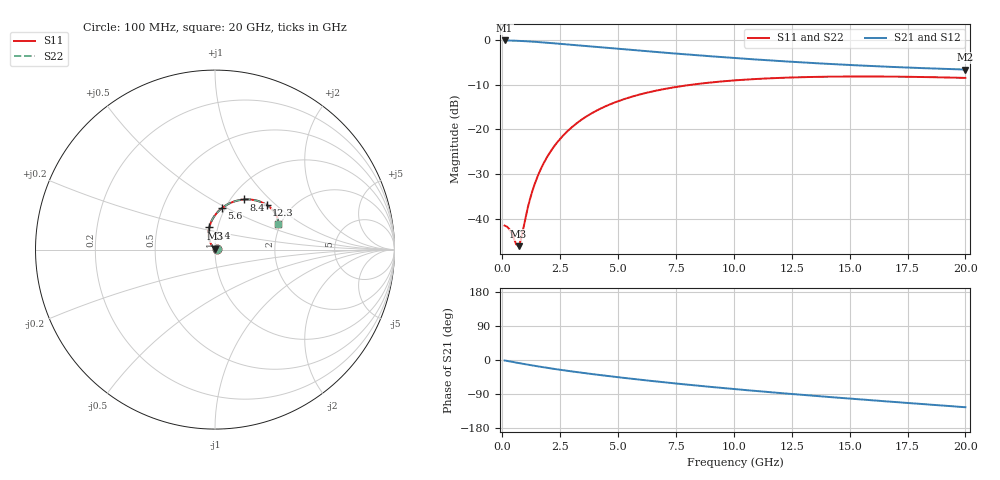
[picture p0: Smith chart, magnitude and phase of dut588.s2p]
! Touchstone file exported from HFSS 2024.1.0
!  File:  C:/UserFiles/LocalFiles/RDL_TSV_Batchsim/temp_RDL_TSV_588_1779758509.aedt
!  Generated:  09:39:31 AM May 26, 2026
!  Design:  RDL_TSV
!  Project:  temp_RDL_TSV_588_1779758509
!  Setup:  Setup1
!  Solution:  Sweep
! Variables:
!  dtsv = 7.75um
!  hbump = 3um
!  htsv = 81.23um
!  ldown = 120.77um
!  lrdl = 273.01um
!  p = 40
!  p1 = 51.61um
!  rhole = 10um
!  subl = 1454.35um
!  t = 450um
!  tdown = 4.69um
!  trdl = 4.46um
!  viad = 10um
!  wdown = 14.52um
!  wrdl = 16.26um
!  xbump = 18um
# GHz S MA R 50.000000
! Terminal data exported
! Port[1] = TM1_1_T1
! Port[2] = TM1_4_T1
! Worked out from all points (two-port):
!   200 points, 100 MHz to 20 GHz, reference 50 ohm
!   highest |S21| = -0.08 dB at 100 MHz (marker M1); lowest = -6.6 dB at 20 GHz (marker M2)
!   |S21| within 3 dB of the highest: start of sweep to 7.648 GHz
!   lowest |S11| = -46.1 dB at 700 MHz (marker M3), VSWR 1.01, Z = 50.2 + j0.452 ohm
!   |S11| at or under -10 dB: start of sweep to 8.146 GHz
!   |S22| runs from -46.1 to -8.1 dB; largest |S21 - S12| = 9.2e-15
!   S11 on the Smith chart (normalised r, x): 100 MHz: 1.02, +0.00; 3.4 GHz: 0.91, +0.23; 5.6 GHz: 0.96, +0.47; 8.4 GHz: 1.15, +0.71; 12.3 GHz: 1.50, +0.87; 20 GHz: 1.94, +0.64
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0.1  0.008411 4.0  0.9912 -1.2  0.9912 -1.2  0.008411 4.0
! Gamma 0 0 0 0
! Port Impedance 50 0 50 0
0.3  0.007704 11.7  0.9893 -3.5  0.9893 -3.5  0.007704 11.7
0.6  0.005195 42.1  0.9838 -6.8  0.9838 -6.8  0.005196 42.1
0.7  0.004948 65.5  0.9814 -8.0  0.9814 -8.0  0.004949 65.6
0.8  0.005779 89.8  0.9787 -9.1  0.9787 -9.1  0.005781 89.8
1  0.01025 116.4  0.9726 -11.2  0.9726 -11.2  0.01025 116.4
1.2  0.01678 124.7  0.9655 -13.3  0.9655 -13.3  0.01678 124.7
1.4  0.02453 126.7  0.9578 -15.4  0.9578 -15.4  0.02454 126.7
1.7  0.03778 125.6  0.9451 -18.4  0.9451 -18.4  0.03779 125.6
2  0.05241 122.6  0.9315 -21.3  0.9315 -21.3  0.05242 122.6
2.4  0.07328 117.6  0.9129 -24.9  0.9129 -24.9  0.07328 117.5
3.4  0.1275 104.5  0.8665 -33.4  0.8665 -33.4  0.1275 104.5
3.5  0.1328 103.2  0.862 -34.2  0.862 -34.2  0.1328 103.2
4.5  0.1838 91.7  0.8187 -41.8  0.8187 -41.8  0.1838 91.7
5.6  0.2329 80.9  0.7747 -49.6  0.7747 -49.6  0.2329 80.9
6.8  0.2773 70.9  0.7306 -57.6  0.7306 -57.6  0.2773 70.9
8.4  0.3224 60.0  0.6777 -67.5  0.6777 -67.5  0.3224 60.0
10.1  0.3554 50.6  0.6289 -77.1  0.6289 -77.1  0.3554 50.6
12.3  0.3805 40.9  0.5764 -88.7  0.5764 -88.7  0.3804 40.9
13.4  0.3872 36.9  0.5544 -94.2  0.5544 -94.2  0.3871 36.9
16.7  0.3907 27.7  0.5029 -109.7  0.5029 -109.7  0.3907 27.7
20  0.3777 21.8  0.4685 -124.7  0.4685 -124.7  0.3776 21.9
